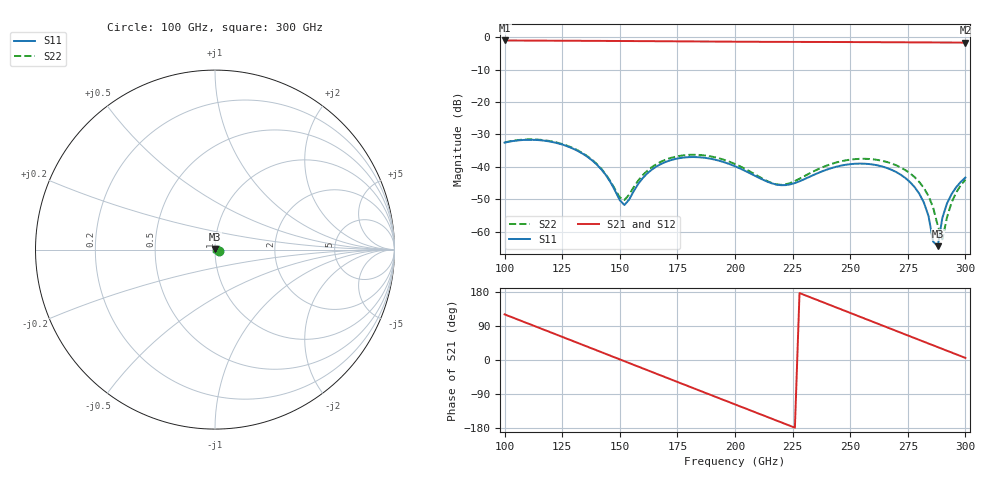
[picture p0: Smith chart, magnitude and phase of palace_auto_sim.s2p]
#  GHZ S DB R 50
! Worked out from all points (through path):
!   101 points, 100 GHz to 300 GHz, reference 50 ohm
!   highest |S21| = -1.06 dB at 100 GHz (marker M1); lowest = -1.7 dB at 300 GHz (marker M2)
!   group delay of S21, straight-line fit = 6.6 ps
!   lowest |S11| = -64.4 dB at 288 GHz (marker M3), VSWR 1.00, Z = 50 + j0.0567 ohm
!   |S11| at or under -10 dB: start of sweep to end of sweep
!   |S22| runs from -62.3 to -31.5 dB; largest |S21 - S12| = 1.4e-13
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100  -32.51 -20.1  -1.06 120.4  -1.06 120.4  -32.44 -20.6
116  -31.81 -51.8  -1.11 82.5  -1.11 82.5  -31.67 -52.5
134  -35.96 -88.0  -1.17 39.7  -1.17 39.7  -35.79 -88.5
142  -40.75 -99.1  -1.19 20.7  -1.19 20.7  -40.58 -98.6
150  -50.24 -76.1  -1.22 1.6  -1.22 1.6  -49.38 -70.9
152  -51.70 -46.7  -1.23 -3.1  -1.23 -3.1  -50.16 -44.0
160  -43.38 1.3  -1.26 -22.2  -1.26 -22.2  -42.50 -3.1
168  -39.04 -6.9  -1.29 -41.2  -1.29 -41.2  -38.34 -11.2
184  -36.99 -35.3  -1.36 -79.2  -1.36 -79.2  -36.28 -40.0
200  -39.79 -56.7  -1.44 -117.2  -1.44 -117.2  -39.08 -63.2
218  -45.42 -39.4  -1.49 -159.7  -1.49 -159.7  -45.36 -43.9
234  -42.50 -8.0  -1.52 162.3  -1.52 162.3  -41.39 -11.1
252  -39.02 -27.2  -1.56 119.5  -1.56 119.5  -37.59 -33.4
268  -40.89 -60.8  -1.60 81.5  -1.60 81.5  -38.94 -68.4
274  -43.43 -75.1  -1.62 67.2  -1.62 67.2  -40.99 -83.3
280  -48.25 -91.3  -1.65 53.0  -1.65 53.0  -44.64 -100.0
284  -55.11 -106.9  -1.66 43.5  -1.66 43.5  -48.97 -114.3
286  -62.98 -129.5  -1.67 38.7  -1.67 38.7  -52.48 -125.2
288  -64.38 110.0  -1.67 34.0  -1.67 34.0  -58.04 -147.9
290  -55.67 82.3  -1.68 29.2  -1.68 29.2  -62.28 134.8
294  -48.36 65.8  -1.69 19.8  -1.69 19.8  -50.93 68.0
300  -43.26 49.1  -1.71 5.6  -1.71 5.6  -43.91 45.0
